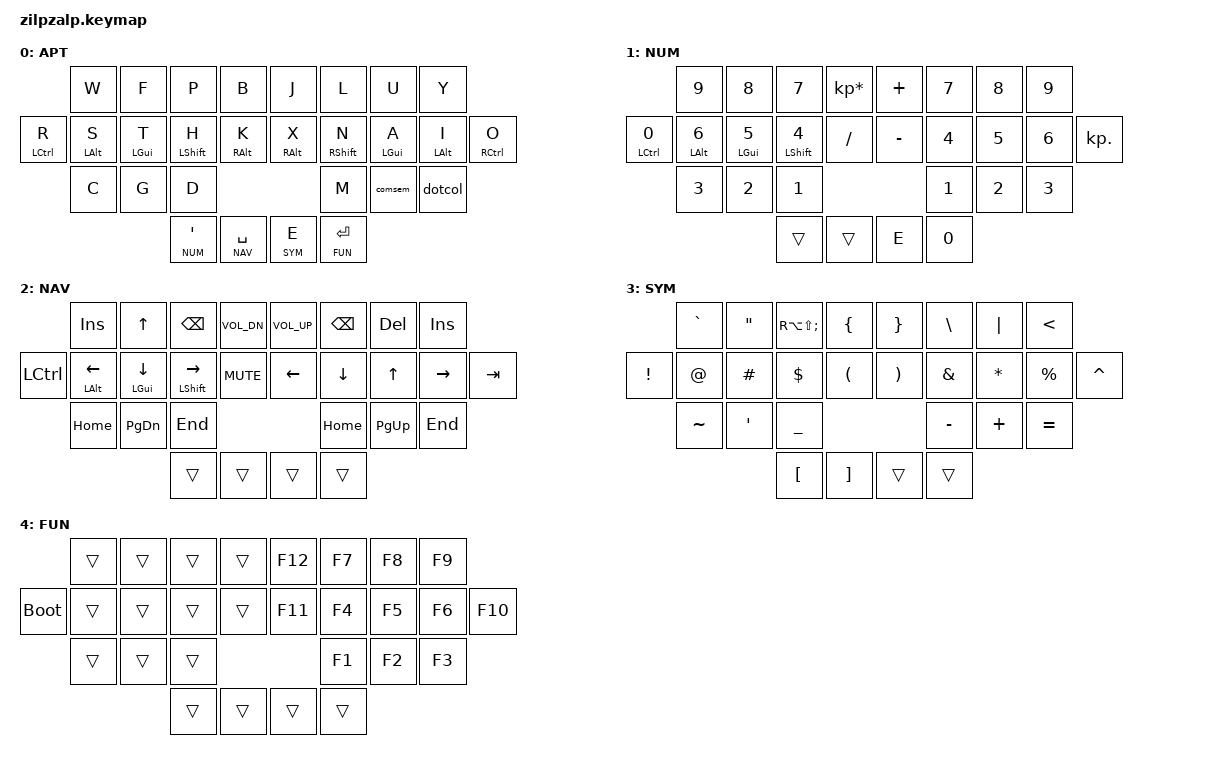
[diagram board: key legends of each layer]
#include <behaviors.dtsi>
#include <dt-bindings/zmk/keys.h>

#define APT 0
#define NUM 1
#define NAV 2
#define SYM 3
#define FUN 4

&lt {
    quick-tap-ms = <200>;
};

&caps_word {
    continue-list = <UNDERSCORE MINUS BSPC LSHFT RSHFT>;
};

/ {
    macros {
        ae: ae {
            compatible = "zmk,behavior-macro";
            #binding-cells = <0>;
            bindings = <&kp DQT &kp A>;
        };
        oe: oe {
            compatible = "zmk,behavior-macro";
            #binding-cells = <0>;
            bindings = <&kp DQT &kp O>;
        };
        ue: ue {
            compatible = "zmk,behavior-macro";
            #binding-cells = <0>;
            bindings = <&kp DQT &kp U>;
        };
    };
};


/ {
    combos {
        compatible = "zmk,combos";
/* usually on base layer */
        combo_q {
            timeout-ms = <40>;
            key-positions = <1 2>;
            bindings = <&kp Q>;
        };
        combo_z {
            timeout-ms = <40>;
            key-positions = <18 19>;
            bindings = <&kp Z>;
        };
        combo_v {
            timeout-ms = <40>;
            key-positions = <0 1>;
            bindings = <&kp V>;
        };
        combo_slash {
            timeout-ms = <40>;
            key-positions = <22 23>;
            bindings = <&kp SLASH>;
        };
        combo_minus {
            timeout-ms = <40>;
            key-positions = <21 22>;
            bindings = <&kp MINUS>;
        };
        combo_esc {
            timeout-ms = <40>;
            key-positions = <19 20>;
            bindings = <&kp ESC>;
        };
/* parentheticals */
        combo_lbrc {
            timeout-ms = <40>;
            key-positions = <0 9>;
            bindings = <&kp LBRC>;
        };
        combo_lbkt {
            timeout-ms = <40>;
            key-positions = <1 10>;
            bindings = <&kp LBKT>;
        };
        combo_lpar {
            timeout-ms = <40>;
            key-positions = <2 11>;
            bindings = <&kp LPAR>;
        };
        combo_lt {
            timeout-ms = <40>;
            key-positions = <3 12>;
            bindings = <&kp LT>;
        };
        combo_rbrc {
            timeout-ms = <40>;
            key-positions = <7 16>;
            bindings = <&kp RBRC>;
        };
        combo_rbkt {
            timeout-ms = <40>;
            key-positions = <6 15>;
            bindings = <&kp RBKT>;
        };
        combo_rpar {
            timeout-ms = <40>;
            key-positions = <5 14>;
            bindings = <&kp RPAR>;
        };
        combo_gt {
            timeout-ms = <40>;
            key-positions = <4 13>;
            bindings = <&kp GT>;
        };
/* caps */
        combo_caps-word {
            timeout-ms = <40>;
            key-positions = <11 14>;
            bindings = <&caps_word>;
        };
        combo_capslock {
            timeout-ms = <40>;
            key-positions = <0 7>;
            bindings = <&kp CAPSLOCK>;
        };
/* deletion */
        combo_bspc {
            timeout-ms = <40>;
            key-positions = <5 6>;
            bindings = <&kp BSPC>;
        };
        combo_del {
            timeout-ms = <40>;
            key-positions = <6 7>;
            bindings = <&kp DEL>;
        };
        combo_delword {
            timeout-ms = <40>;
            key-positions = <5 7>;
            bindings = <&kp LC(BSPC)>;
        };
/* umlauts */
        combo_ae {
            timeout-ms = <40>;
            key-positions = <15 26>;
            bindings = <&ae>;
        };
        combo_oe {
            timeout-ms = <40>;
            key-positions = <17 26>;
            bindings = <&oe>;
        };
        combo_ue {
            timeout-ms = <40>;
            key-positions = <6 26>;
            bindings = <&ue>;
        };
        combo_sz {
            timeout-ms = <40>;
            key-positions = <9 25>;
            bindings = <&kp RA(S)>;
        };
    };   
};

/ {

    behaviors {
        hl: homerow_mods_left {
            compatible = "zmk,behavior-hold-tap";
            label = "homerow mods left";
            #binding-cells = <2>;
            flavor = "tap-preferred";
            tapping-term-ms = <200>;
            quick-tap-ms = <100>;
            // global-quick-tap;
            bindings = <&kp>, <&kp>;
            // opposite side hand keys
            hold-trigger-key-positions = <4 5 6 7 13 14 15 16 17 21 22 23 26 27>;
        };

        hr: homerow_mods_right {
            compatible = "zmk,behavior-hold-tap";
            label = "homerow mods right";
            #binding-cells = <2>;
            flavor = "tap-preferred";
            tapping-term-ms = <200>;
            quick-tap-ms = <100>;
            // global-quick-tap;
            bindings = <&kp>, <&kp>;
            // opposite side hand keys
            hold-trigger-key-positions = <0 1 2 3 8 9 10 11 12 18 19 20 24 25>;
        };

        dotcol: dot_colon {
            compatible = "zmk,behavior-mod-morph";
            label = "DOT_COL";
            #binding-cells = <0>;
            bindings = <&kp DOT>, <&kp COLON>;
            mods = <(MOD_LSFT|MOD_RSFT)>;
        };
        comsem: comma_semicolon {
            compatible = "zmk,behavior-mod-morph";
            label = "COM_SEM";
            #binding-cells = <0>;
            bindings = <&kp COMMA>, <&kp SEMI>;
            mods = <(MOD_LSFT|MOD_RSFT)>;
        };
    };
};


// zilpzalp key numbers
//     __________________________  __________________________
//    /     0  |  1  |  2  |  3  \/   4 |   5 |   6 |   7    \
// |  8  |  9  | 10  | 11  | 12  /\  13 |  14 |  15 |  16 | 17  |
//    \    18  | 19  | 20    /        \    21 |  22 |  23   /
//          \    24  | 25  /            \  26 |  27    /
//           --------------              --------------

/ {

    keymap {
        compatible = "zmk,keymap";

        aptmak {
            label = "APT";

            bindings = <
                              &kp W          &kp F          &kp P             &kp B            &kp J         &kp L          &kp U         &kp Y
                &hl LCTRL R   &hl LALT S     &hl LGUI T     &hl LSHFT H       &hl RALT K       &hr RALT X    &hr RSHFT N    &hr LGUI A    &hr LALT I   &hr RCTRL O
                              &kp C          &kp G          &kp D                                            &kp M          &comsem       &dotcol
                                                            &lt NUM SQT       &lt NAV SPACE    &lt SYM E     &lt FUN ENTER
            >;
        };
        numbers {
            label = "NUM";

            bindings = <
                              &kp N9         &kp N8         &kp N7            &kp KP_ASTERISK  &kp PLUS      &kp N7         &kp N8        &kp N9
                &hl LCTRL N0  &hl LALT N6    &hl LGUI N5    &hl LSHFT N4      &kp SLASH        &kp MINUS     &kp N4         &kp N5        &kp N6       &kp KP_DOT
                              &kp N3         &kp N2         &kp N1                                           &kp N1         &kp N2        &kp N3
                                                            &trans            &trans           &kp E         &kp N0
            >;
        };
        navigation {
            label = "NAV";

            bindings = <
                              &kp INSERT     &kp UP         &kp BSPC          &kp C_VOL_DN     &kp C_VOL_UP  &kp BSPC       &kp DEL       &kp INSERT
                &kp LCTRL     &hl LALT LEFT  &hl LGUI DOWN  &hl LSHFT RIGHT   &kp C_MUTE       &kp LEFT      &kp DOWN       &kp UP        &kp RIGHT    &kp TAB
                              &kp HOME       &kp PG_DN      &kp END                                          &kp HOME       &kp PG_UP     &kp END
                                                            &trans            &trans           &trans        &trans
            >;
        };
        symbols {
            label = "SYM";

            bindings = <
                              &kp GRAVE      &kp DQT        &kp RA(LS(SEMI))  &kp LBRC         &kp RBRC      &kp BACKSLASH  &kp PIPE      &kp LT
                &kp EXCL      &kp AT         &kp HASH       &kp DOLLAR        &kp LPAR         &kp RPAR      &kp AMPERSAND  &kp ASTERISK  &kp PERCENT  &kp CARET
                              &kp TILDE      &kp SQT        &kp UNDERSCORE                                   &kp MINUS      &kp PLUS      &kp EQUAL
                                                            &kp LBKT          &kp RBKT         &trans        &trans
            >;
        };
        function {
            label = "FUN";

            bindings = <
                              &trans         &trans         &trans            &trans           &kp F12       &kp F7         &kp F8        &kp F9
                &bootloader   &trans         &trans         &trans            &trans           &kp F11       &kp F4         &kp F5        &kp F6       &kp F10
                              &trans         &trans         &trans                                           &kp F1         &kp F2        &kp F3
                                                            &trans            &trans           &trans        &trans
            >;
        };

    };
};

//     __________________________  __________________________
//    /     1  |  2  |  3  |  4  \/   5 |   6 |   7 |   8    \
// | 10  | 11  | 12  | 13  | 14  ||  15 |  16 |  17 |  18 | 19  |
//    \    20  | 21  | 22  |     ||     |  23 |  24 |  25   /
//                \    26  | 27  /\  28 |  29    /
//                 --------------  --------------
